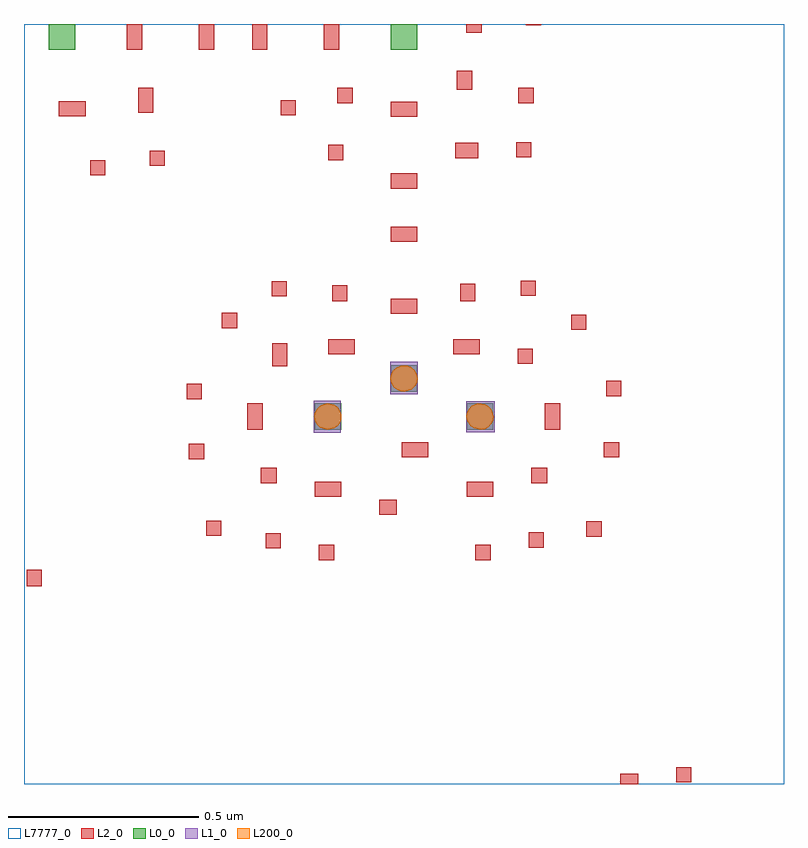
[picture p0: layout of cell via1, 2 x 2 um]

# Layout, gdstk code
import gdstk
lib = gdstk.Library(unit=1e-6, precision=1e-09)
def R(c, l, rs):  # rectangles x0, y0, x1, y1
    for r in rs: c.add(gdstk.rectangle(r[:2], r[2:], *l))
def P(c, l, *ps):  # polygons
    for p in ps: c.add(gdstk.Polygon(p, *l))
L0_0 = (0, 0)
L1_0 = (1, 0)
L2_0 = (2, 0)
L200_0 = (200, 0)
L7777_0 = (7777, 0)

via1 = lib.new_cell('via1')
R(via1, L0_0, [(83.715,47.265,83.785,47.335), (84.115,47.265,84.185,47.335), (83.915,47.365,83.985,47.435), (83.015,48.265,83.085,48.333), (83.915,48.265,83.985,48.333)])
R(via1, L1_0, [(83.712,47.257,83.784,47.342), (84.114,47.259,84.189,47.34), (83.914,47.359,83.986,47.444)])
R(via1, L2_0, [(84.519,46.333,84.566,46.36), (84.666,46.337,84.706,46.377), (82.957,46.854,82.997,46.897), (83.726,46.922,83.766,46.962), (84.138,46.922,84.178,46.962), (83.586,46.953,83.626,46.993), (84.278,46.955,84.318,46.995), (84.43,46.984,84.47,47.024), (83.429,46.986,83.469,47.026), (83.885,47.041,83.931,47.081), (83.715,47.089,83.785,47.129), (84.115,47.089,84.185,47.129), (83.573,47.125,83.615,47.165), (84.285,47.125,84.327,47.165), (83.384,47.188,83.424,47.228), (83.944,47.193,84.014,47.233), (84.476,47.193,84.516,47.233), (83.538,47.265,83.578,47.335), (84.321,47.265,84.361,47.335), (83.378,47.346,83.418,47.386), (84.482,47.354,84.522,47.394), (83.603,47.432,83.643,47.493), (84.249,47.439,84.289,47.479), (83.75,47.464,83.82,47.504), (84.079,47.464,84.149,47.504), (84.39,47.528,84.43,47.568), (83.471,47.533,83.511,47.573), (83.915,47.57,83.985,47.61), (83.761,47.604,83.801,47.645), (84.098,47.604,84.138,47.649), (83.602,47.616,83.642,47.656), (84.257,47.618,84.297,47.658), (83.915,47.76,83.985,47.8), (83.915,47.9,83.985,47.94), (83.124,47.935,83.164,47.975), (83.281,47.96,83.321,48), (83.75,47.975,83.79,48.015), (84.085,47.98,84.145,48.02), (84.245,47.982,84.285,48.022), (83.915,48.089,83.985,48.129), (83.042,48.09,83.112,48.13), (83.625,48.093,83.665,48.133), (83.25,48.1,83.29,48.165), (83.774,48.125,83.815,48.165), (84.251,48.125,84.291,48.165), (84.089,48.16,84.129,48.21), (83.221,48.265,83.261,48.333), (83.41,48.265,83.45,48.333), (83.55,48.265,83.59,48.333), (83.739,48.265,83.779,48.333), (84.114,48.31,84.154,48.333), (84.271,48.33,84.311,48.333)])
P(via1, L200_0, [(83.748,47.265),(83.729,47.271),(83.72,47.28),(83.715,47.291),(83.714,47.3),(83.715,47.309),(83.72,47.319),(83.729,47.328),(83.739,47.333),(83.748,47.335),(83.766,47.331),(83.776,47.324),(83.785,47.308),(83.785,47.291),(83.781,47.282),(83.776,47.276),(83.766,47.269)],
  [(84.153,47.265),(84.135,47.269),(84.125,47.275),(84.116,47.289),(84.114,47.3),(84.115,47.309),(84.12,47.319),(84.128,47.328),(84.144,47.335),(84.162,47.333),(84.171,47.328),(84.18,47.319),(84.186,47.3),(84.185,47.291),(84.181,47.282),(84.172,47.272),(84.162,47.267)],
  [(83.951,47.365),(83.941,47.366),(83.932,47.37),(83.923,47.377),(83.915,47.392),(83.914,47.401),(83.916,47.411),(83.921,47.42),(83.93,47.429),(83.941,47.434),(83.96,47.434),(83.969,47.43),(83.978,47.422),(83.984,47.411),(83.986,47.401),(83.985,47.392),(83.981,47.383),(83.969,47.371)])
R(via1, L7777_0, [(82.95,46.333,84.95,48.333)])

lib.write_gds('via1.gds')
